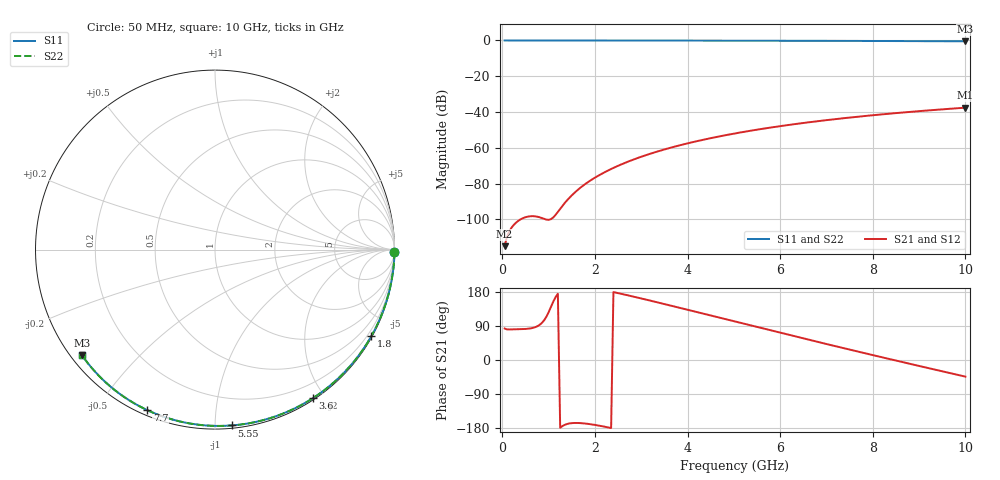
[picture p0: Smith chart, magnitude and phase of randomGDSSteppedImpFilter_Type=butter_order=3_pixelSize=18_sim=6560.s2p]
! freq	dB(S11)	phase(S11)	dB(S12)	phase(S12)
!  dB(S21)	phase(S21)	dB(S22)	phase(S22)
!S-par simulation data
#  GHz  S  DB  R 50
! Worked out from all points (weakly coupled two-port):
!   200 points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, 50 MHz to 10 GHz, reference 50 ohm
!   highest |S21| = -37.58 dB at 10 GHz (marker M1); lowest = -115.0 dB at 50 MHz (marker M2)
!   lowest |S11| = -0.5 dB at 10 GHz (marker M3), VSWR 36.39, Z = 1.54 - j17.4 ohm
!   |S11| at or under -10 dB: nowhere
!   |S22| runs from -0.5 to 0.0 dB; largest |S21 - S12| = 0
!   S11 on the Smith chart (normalised r, x): 50 MHz: open; 1.8 GHz: 0.03, -3.86; 3.6 GHz: 0.02, -1.85; 5.55 GHz: 0.02, -1.10; 7.7 GHz: 0.02, -0.66; 10 GHz: 0.03, -0.35
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0.05  -0.00 -0.8  -114.98 83.1  -114.98 83.1  -0.00 -0.8
0.45  -0.01 -7.4  -99.28 81.6  -99.28 81.6  -0.01 -7.4
0.9  -0.02 -14.7  -99.70 104.3  -99.70 104.3  -0.02 -14.7
1.3  -0.03 -21.1  -92.40 -174.2  -92.40 -174.2  -0.03 -21.1
1.75  -0.04 -28.3  -81.04 -167.1  -81.04 -167.1  -0.04 -28.3
1.8  -0.04 -29.0  -80.09 -167.8  -80.09 -167.8  -0.04 -29.0
2  -0.04 -32.2  -76.70 -171.3  -76.70 -171.3  -0.04 -32.2
2.15  -0.04 -34.6  -74.49 -174.6  -74.49 -174.6  -0.04 -34.6
2.35  -0.05 -37.7  -71.85 -179.5  -71.85 -179.5  -0.05 -37.7
2.55  -0.05 -40.8  -69.49 175.2  -69.49 175.2  -0.05 -40.8
2.95  -0.06 -46.9  -65.45 163.9  -65.45 163.9  -0.06 -46.9
3.4  -0.07 -53.7  -61.68 150.6  -61.68 150.6  -0.07 -53.7
3.6  -0.08 -56.7  -60.19 144.6  -60.19 144.6  -0.08 -56.7
4.3  -0.09 -67.0  -55.72 123.4  -55.72 123.4  -0.09 -67.0
5.05  -0.12 -77.6  -51.85 100.6  -51.85 100.6  -0.12 -77.6
5.55  -0.14 -84.5  -49.66 85.5  -49.66 85.5  -0.14 -84.5
6.1  -0.16 -92.0  -47.52 68.9  -47.52 68.9  -0.16 -92.0
6.7  -0.19 -99.9  -45.47 51.0  -45.47 51.0  -0.19 -99.9
7.7  -0.26 -112.8  -42.56 21.6  -42.56 21.6  -0.26 -112.8
8.35  -0.31 -121.0  -40.95 2.8  -40.95 2.8  -0.31 -121.0
9.2  -0.39 -131.6  -39.09 -21.4  -39.09 -21.4  -0.39 -131.6
10  -0.48 -141.5  -37.58 -43.9  -37.58 -43.9  -0.48 -141.5
